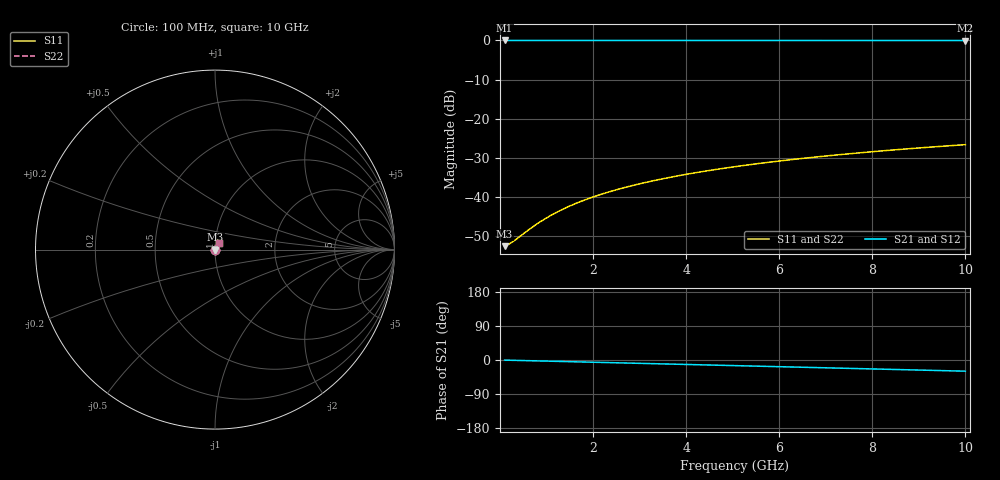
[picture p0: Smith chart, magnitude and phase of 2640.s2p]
# Hz S RI R 50.00
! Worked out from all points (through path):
!   100 points, 100 MHz to 10 GHz, reference 50 ohm
!   highest |S21| = -0.02 dB at 100 MHz (marker M1); lowest = 0.0 dB at 10 GHz (marker M2)
!   group delay of S21, straight-line fit = 8.19 ps
!   lowest |S11| = -52.5 dB at 100 MHz (marker M3), VSWR 1.00, Z = 50.2 + j0.048 ohm
!   |S11| at or under -10 dB: start of sweep to end of sweep
!   |S22| runs from -52.5 to -26.6 dB; largest |S21 - S12| = 0
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1e8  0.00232 0.000478  0.9977 -0.00511  0.9977 -0.00511  0.00232 0.000478
2e8  0.00235 0.000956  0.9976 -0.0102  0.9976 -0.0102  0.00235 0.000956
3e8  0.00237 0.00143  0.9975 -0.0153  0.9975 -0.0153  0.00237 0.00143
7e8  0.00249 0.00334  0.997 -0.0358  0.997 -0.0358  0.00249 0.00334
8e8  0.00253 0.00382  0.9967 -0.0409  0.9967 -0.0409  0.00253 0.00382
1e9  0.00262 0.00477  0.9963 -0.0511  0.9963 -0.0511  0.00262 0.00477
1.2e9  0.00274 0.00572  0.9957 -0.0613  0.9957 -0.0613  0.00274 0.00572
1.4e9  0.00287 0.00666  0.995 -0.0715  0.995 -0.0715  0.00287 0.00666
1.6e9  0.00302 0.0076  0.9942 -0.0817  0.9942 -0.0817  0.00302 0.0076
1.8e9  0.00319 0.00854  0.9932 -0.0919  0.9932 -0.0919  0.00319 0.00854
2.1e9  0.00348 0.00994  0.9917 -0.1072  0.9917 -0.1072  0.00348 0.00994
2.5e9  0.00394 0.0118  0.9892 -0.1275  0.9892 -0.1275  0.00394 0.0118
2.9e9  0.00446 0.0136  0.9864 -0.1478  0.9864 -0.1478  0.00446 0.0136
3.4e9  0.00523 0.0159  0.9822 -0.1731  0.9822 -0.1731  0.00523 0.0159
3.8e9  0.00593 0.0176  0.9784 -0.1932  0.9784 -0.1932  0.00593 0.0176
4.2e9  0.00669 0.0194  0.9741 -0.2133  0.9741 -0.2133  0.00669 0.0194
5.1e9  0.00868 0.0232  0.9631 -0.2581  0.9631 -0.2581  0.00868 0.0232
5.9e9  0.0107 0.0264  0.9515 -0.2975  0.9515 -0.2975  0.0107 0.0264
6.7e9  0.0131 0.0294  0.9383 -0.3365  0.9383 -0.3365  0.0131 0.0294
7.5e9  0.0156 0.0322  0.9234 -0.3748  0.9234 -0.3748  0.0156 0.0322
8.4e9  0.0188 0.0351  0.9048 -0.4173  0.9048 -0.4173  0.0188 0.0351
1e10  0.025 0.0395  0.8669 -0.4905  0.8669 -0.4905  0.025 0.0395
